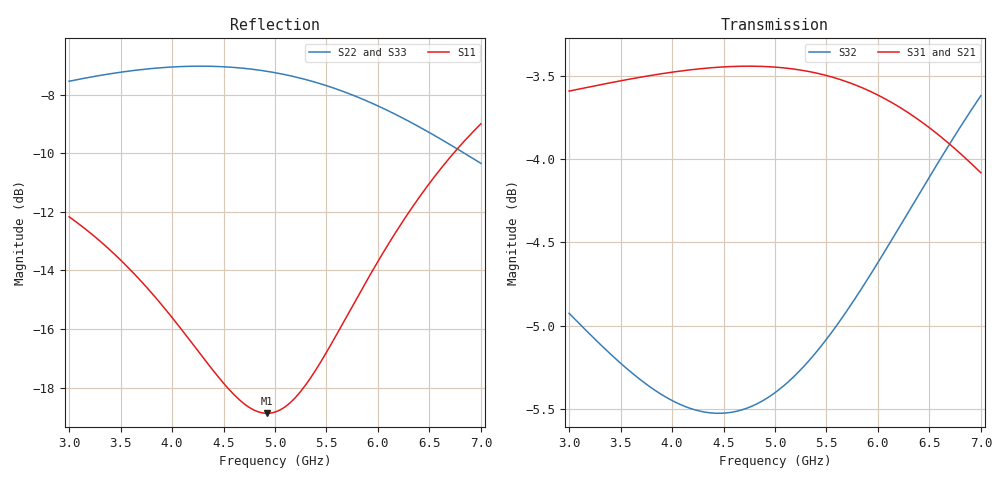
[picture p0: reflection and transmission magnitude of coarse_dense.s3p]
! yapnr rf: r1t-osh-w-w-eq, footprint re-simulated (optimization grid)
! spec sha256 c3d4cf500781792df2a3374838e874153ff17456793e00e14cea08fe5bd3db94
! 3 ports renormalized to 50 ohm, e^(+jwt) convention
# GHz S RI R 50
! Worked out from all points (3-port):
!   161 points, 3 GHz to 7 GHz, reference 50 ohm
!   strongest paths, dB at 3 GHz, 4 GHz, 5 GHz, 6 GHz, 7 GHz:
!     S31: -3.6, -3.5, -3.4, -3.6, -4.1
!     S21: -3.6, -3.5, -3.4, -3.6, -4.1
!     S32: -4.9, -5.4, -5.4, -4.6, -3.6
!   lowest |S11| = -18.9 dB at 4.925 GHz (marker M1), VSWR 1.26, Z = 61.3 + j5.78 ohm
!   |S11| at or under -10 dB: start of sweep to 6.735 GHz
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3  -0.1411 0.2018  -0.3159 -0.5818  -0.3159 -0.5818
   -0.3155 -0.5811  0.1837 0.3771  -0.4298 -0.37
   -0.3155 -0.5811  -0.4298 -0.37  0.1837 0.3771
3.5  -0.0711 0.1953  -0.5067 -0.4338  -0.5067 -0.4338
     -0.5055 -0.4335  0.3311 0.2816  -0.5171 -0.1811
     -0.5055 -0.4335  -0.5171 -0.1811  0.3311 0.2816
4.025  0.00249 0.1637  -0.638 -0.2088  -0.638 -0.2088
       -0.6364 -0.2098  0.4287 0.1154  -0.5331 0.0213
       -0.6364 -0.2098  -0.5331 0.0213  0.4287 0.1154
4.475  0.0594 0.1152  -0.6728 0.0174  -0.6728 0.0174
       -0.6721 0.015  0.4412 -0.0523  -0.4967 0.183
       -0.6721 0.015  -0.4967 0.183  0.4412 -0.0523
4.925  0.1038 0.0466  -0.6259 0.2451  -0.6259 0.2451
       -0.6274 0.2422  0.3831 -0.2084  -0.4215 0.3293
       -0.6274 0.2422  -0.4215 0.3293  0.3831 -0.2084
5  0.1094 0.0333  -0.6102 0.281  -0.6102 0.281
   -0.612 0.2782  0.3673 -0.231  -0.4053 0.352
   -0.612 0.2782  -0.4053 0.352  0.3673 -0.231
5.55  0.1278 -0.078  -0.4327 0.5054  -0.4327 0.5054
      -0.4369 0.505  0.2142 -0.3491  -0.2515 0.5
      -0.4369 0.505  -0.2515 0.5  0.2142 -0.3491
6.05  0.0997 -0.1892  -0.2014 0.6222  -0.2014 0.6222
      -0.2052 0.6254  0.0526 -0.3735  -0.0548 0.5882
      -0.2052 0.6254  -0.0548 0.5882  0.0526 -0.3735
6.55  0.0211 -0.2877  0.0521 0.6355  0.0521 0.6355
      0.0517 0.6408  -0.0881 -0.3273  0.1863 0.5985
      0.0517 0.6408  0.1863 0.5985  -0.0881 -0.3273
7  -0.0876 -0.3439  0.2608 0.562  0.2608 0.562
   0.264 0.5665  -0.177 -0.2469  0.4112 0.5152
   0.264 0.5665  0.4112 0.5152  -0.177 -0.2469
